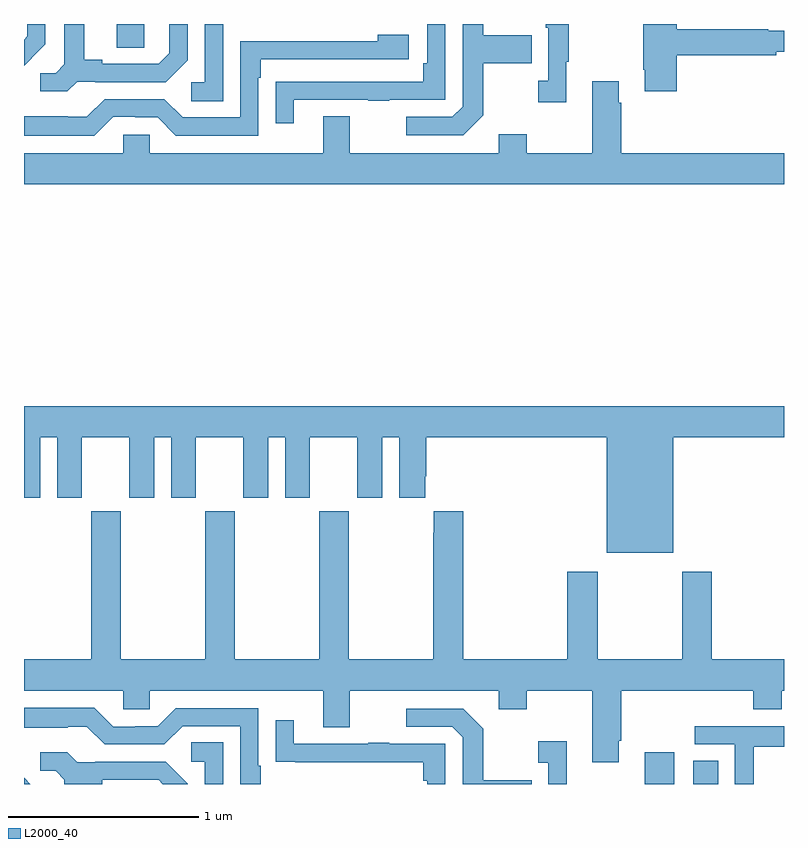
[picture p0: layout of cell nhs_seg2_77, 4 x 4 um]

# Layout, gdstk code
import gdstk
lib = gdstk.Library(unit=1e-6, precision=1e-09)
def R(c, l, rs):  # rectangles x0, y0, x1, y1
    for r in rs: c.add(gdstk.rectangle(r[:2], r[2:], *l))
def P(c, l, *ps):  # polygons
    for p in ps: c.add(gdstk.Polygon(p, *l))
L2000_40 = (2000, 40)

nhs_seg2_77 = lib.new_cell('nhs_seg2_77')
R(nhs_seg2_77, L2000_40, [(116.267,657.8,116.422,657.967), (116.522,657.8,116.653,657.923), (113.489,661.675,113.634,661.8)])
P(nhs_seg2_77, L2000_40, [(115.855,661.601),(115.867,661.601),(115.867,661.8),(115.746,661.8),(115.746,661.781),(115.758,661.781),(115.758,661.502),(115.707,661.502),(115.707,661.389),(115.855,661.389)],
  [(113.04,661.62),(113.039,661.621),(113.112,661.694),(113.112,661.8),(113.018,661.8),(113.018,661.736),(113,661.718),(113,661.58)],
  [(115.417,661.321),(115.417,661.594),(115.673,661.594),(115.673,661.741),(115.417,661.741),(115.417,661.8),(115.308,661.8),(115.308,661.365),(115.254,661.311),(115.011,661.311),(115.011,661.215),(115.311,661.215)],
  [(113.28,661.497),(113.374,661.497),(113.374,661.494),(113.746,661.494),(113.862,661.61),(113.862,661.8),(113.765,661.8),(113.765,661.647),(113.708,661.59),(113.413,661.59),(113.413,661.613),(113.317,661.613),(113.317,661.8),(113.213,661.8),(113.213,661.589),(113.166,661.542),(113.085,661.542),(113.085,661.445),(113.228,661.445)],
  [(114.421,661.401),(114.811,661.401),(114.811,661.396),(114.923,661.396),(114.923,661.401),(115.218,661.401),(115.218,661.8),(115.122,661.8),(115.122,661.594),(115.102,661.594),(115.102,661.497),(114.427,661.497),(114.427,661.496),(114.325,661.496),(114.325,661.278),(114.421,661.278)],
  [(114.048,661.8),(113.952,661.8),(113.952,661.494),(113.88,661.494),(113.88,661.393),(114.048,661.393)],
  [(116.435,661.636),(116.96,661.636),(116.96,661.655),(117,661.655),(117,661.765),(116.918,661.765),(116.918,661.772),(116.435,661.772),(116.435,661.8),(116.26,661.8),(116.26,661.558),(116.267,661.558),(116.267,661.446),(116.435,661.446)],
  [(113.469,661.311),(113.585,661.311),(113.585,661.308),(113.703,661.308),(113.799,661.212),(114.234,661.212),(114.234,661.517),(114.247,661.517),(114.247,661.614),(115.024,661.614),(115.024,661.744),(114.863,661.744),(114.863,661.71),(114.138,661.71),(114.138,661.308),(113.835,661.308),(113.739,661.404),(113.424,661.404),(113.331,661.311),(113.231,661.311),(113.231,661.315),(113,661.315),(113,661.211),(113.369,661.211)],
  [(117,661.12),(116.144,661.12),(116.144,661.385),(116.131,661.385),(116.131,661.498),(115.991,661.498),(115.991,661.12),(115.647,661.12),(115.647,661.219),(115.499,661.219),(115.499,661.12),(114.715,661.12),(114.715,661.315),(114.575,661.315),(114.575,661.12),(113.661,661.12),(113.661,661.218),(113.523,661.218),(113.523,661.12),(113,661.12),(113,660.956),(117,660.956)],
  [(116.416,659.624),(117,659.624),(117,659.788),(113,659.788),(113,659.307),(113.086,659.307),(113.086,659.624),(113.174,659.624),(113.174,659.307),(113.305,659.307),(113.305,659.624),(113.555,659.624),(113.555,659.307),(113.686,659.307),(113.686,659.624),(113.774,659.624),(113.774,659.307),(113.905,659.307),(113.905,659.624),(114.155,659.624),(114.155,659.307),(114.286,659.307),(114.286,659.624),(114.374,659.624),(114.374,659.307),(114.505,659.307),(114.505,659.624),(114.755,659.624),(114.755,659.307),(114.886,659.307),(114.886,659.624),(114.974,659.624),(114.974,659.307),(115.111,659.307),(115.111,659.419),(115.118,659.419),(115.118,659.624),(116.066,659.624),(116.066,659.018),(116.416,659.018)],
  [(116.131,658.027),(116.144,658.027),(116.144,658.292),(116.837,658.292),(116.837,658.193),(116.989,658.193),(116.989,658.292),(117,658.292),(117,658.456),(116.619,658.456),(116.619,658.918),(116.464,658.918),(116.464,658.456),(116.019,658.456),(116.019,658.918),(115.859,658.918),(115.859,658.456),(115.313,658.456),(115.313,659.236),(115.157,659.236),(115.157,659.123),(115.153,659.123),(115.153,658.456),(114.708,658.456),(114.708,659.236),(114.553,659.236),(114.553,658.456),(114.108,658.456),(114.108,659.236),(113.953,659.236),(113.953,658.456),(113.508,658.456),(113.508,659.236),(113.353,659.236),(113.353,658.456),(113,658.456),(113,658.292),(113.523,658.292),(113.523,658.194),(113.661,658.194),(113.661,658.292),(114.575,658.292),(114.575,658.098),(114.715,658.098),(114.715,658.292),(115.499,658.292),(115.499,658.193),(115.647,658.193),(115.647,658.292),(115.991,658.292),(115.991,657.915),(116.131,657.915)],
  [(114.247,657.895),(114.234,657.895),(114.234,658.2),(113.799,658.2),(113.703,658.104),(113.585,658.104),(113.585,658.101),(113.469,658.101),(113.369,658.201),(113,658.201),(113,658.097),(113.231,658.097),(113.231,658.101),(113.331,658.101),(113.424,658.008),(113.739,658.008),(113.835,658.104),(114.138,658.104),(114.138,657.8),(114.247,657.8)],
  [(115.673,657.819),(115.417,657.819),(115.417,658.091),(115.311,658.197),(115.011,658.197),(115.011,658.101),(115.254,658.101),(115.308,658.047),(115.308,657.8),(115.673,657.8)],
  [(115.218,658.011),(114.923,658.011),(114.923,658.016),(114.811,658.016),(114.811,658.011),(114.421,658.011),(114.421,658.135),(114.325,658.135),(114.325,657.916),(114.427,657.916),(114.427,657.915),(115.102,657.915),(115.102,657.818),(115.122,657.818),(115.122,657.8),(115.218,657.8)],
  [(116.841,657.996),(117,657.996),(117,658.104),(116.529,658.104),(116.529,658.008),(116.742,658.008),(116.742,657.8),(116.841,657.8)],
  [(115.856,658.024),(115.707,658.024),(115.707,657.911),(115.758,657.911),(115.758,657.8),(115.856,657.8)],
  [(114.048,658.019),(113.88,658.019),(113.88,657.918),(113.952,657.918),(113.952,657.8),(114.048,657.8)],
  [(113.413,657.822),(113.708,657.822),(113.73,657.8),(113.862,657.8),(113.862,657.802),(113.746,657.918),(113.374,657.918),(113.374,657.915),(113.28,657.915),(113.228,657.967),(113.085,657.967),(113.085,657.87),(113.166,657.87),(113.213,657.823),(113.213,657.8),(113.413,657.8)],
  [(113,657.832),(113,657.8),(113.032,657.8)])

lib.write_gds('nhs_seg2_77.gds')
